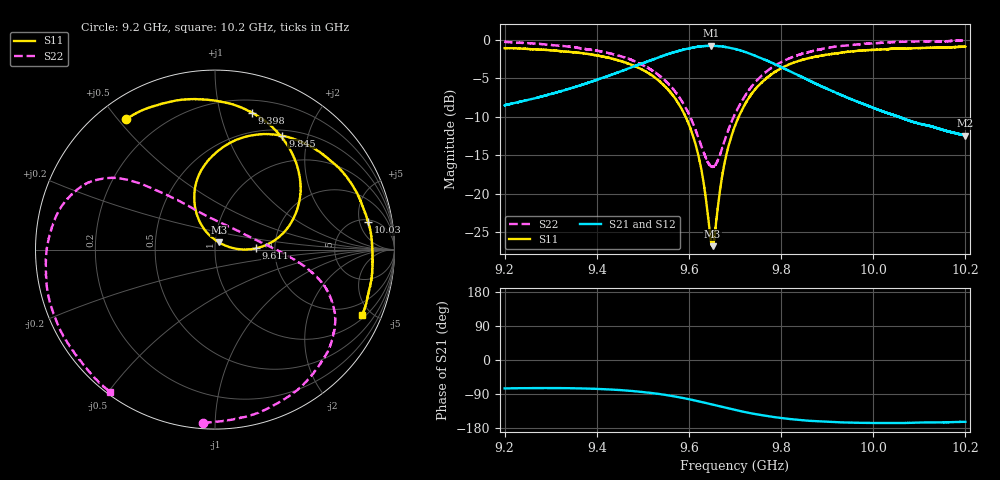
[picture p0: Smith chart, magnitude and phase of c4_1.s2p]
!Agilent Technologies,N5242A,MY51221714,A.09.90.19
!Agilent N5242A: A.09.90.19
!Date: Saturday, December 30, 2023 10:25:23
!Correction: S11(Full 2 Port(1,2))
!S21(Full 2 Port(1,2))
!S12(Full 2 Port(1,2))
!S22(Full 2 Port(1,2))
!S2P File: Measurements: S11, S21, S12, S22:
# Hz S  dB  R 50
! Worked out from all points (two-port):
!   16001 points, 9.2 GHz to 10.2 GHz, reference 50 ohm
!   highest |S21| = -0.81 dB at 9.648 GHz (marker M1); lowest = -12.5 dB at 10.2 GHz (marker M2)
!   |S21| within 3 dB of the highest: 9.466342 GHz to 9.46648 GHz (137.4 kHz wide, 0.00145 % of centre); 9.467 GHz to 9.808 GHz (341.7 MHz wide, 3.55 % of centre)
!   lowest |S11| = -26.8 dB at 9.651 GHz (marker M3), VSWR 1.10, Z = 52.1 + j4.17 ohm
!   |S11| at or under -10 dB: 9.592472 GHz to 9.592607 GHz (134.5 kHz wide, 0.0014 % of centre); 9.593 GHz to 9.708 GHz (115.7 MHz wide, 1.2 % of centre)
!   |S22| runs from -16.5 to -0.1 dB; largest |S21 - S12| = 0.013
!   S11 on the Smith chart (normalised r, x): 9.2 GHz: 0.08, +0.53; 9.398 GHz: 0.31, +1.26; 9.611 GHz: 1.59, +0.02; 9.845 GHz: 0.57, +1.60; 10.03 GHz: 5.53, +6.86; 10.2 GHz: 1.18, -4.43
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9.2e9  -1.12 124.2  -8.53 -75.0  -8.51 -75.7  -0.29 -93.9
9.275125e9  -1.31 106.7  -7.48 -74.2  -7.45 -74.8  -0.57 -73.7
9.366688e9  -1.76 83.7  -5.90 -75.0  -5.89 -75.7  -1.16 -50.3
9.398062e9  -2.04 75.0  -5.28 -76.1  -5.26 -76.9  -1.43 -42.6
9.475375e9  -3.28 51.1  -3.60 -81.6  -3.59 -82.3  -2.64 -26.1
9.533375e9  -5.29 30.2  -2.33 -89.3  -2.32 -89.9  -4.56 -15.2
9.579e9  -8.49 12.4  -1.46 -98.5  -1.45 -99.1  -7.50 -5.9
9.61075e9  -12.88 1.7  -1.02 -106.2  -1.01 -106.9  -11.17 6.5
9.629375e9  -17.66 1.3  -0.88 -111.3  -0.86 -112.0  -14.21 24.1
9.647938e9  -26.14 39.8  -0.81 -116.7  -0.81 -117.4  -16.40 58.1
9.65125e9  -26.83 61.2  -0.82 -117.7  -0.81 -118.3  -16.50 65.3
9.676562e9  -16.27 118.8  -0.95 -125.0  -0.93 -125.7  -13.29 110.5
9.7e9  -11.23 114.1  -1.22 -131.6  -1.20 -132.3  -9.68 125.6
9.77525e9  -4.70 84.3  -2.89 -148.9  -2.89 -149.6  -3.84 142.3
9.844938e9  -2.64 59.4  -4.84 -158.8  -4.85 -159.5  -1.87 153.0
9.866688e9  -2.32 52.5  -5.48 -161.0  -5.48 -161.7  -1.52 156.7
9.949875e9  -1.55 29.7  -7.68 -165.2  -7.69 -165.9  -0.73 173.3
1.003244e10  -1.23 10.2  -9.56 -166.2  -9.56 -167.0  -0.36 -168.0
1.003338e10  -1.24 9.9  -9.61 -166.1  -9.59 -166.9  -0.36 -167.8
1.010681e10  -1.10 -5.4  -11.01 -164.8  -11.01 -165.5  -0.24 -149.9
1.019919e10  -0.94 -23.6  -12.46 -163.0  -12.44 -164.0  -0.14 -126.4
1.02e10  -0.93 -23.9  -12.45 -163.1  -12.46 -163.9  -0.13 -126.3
